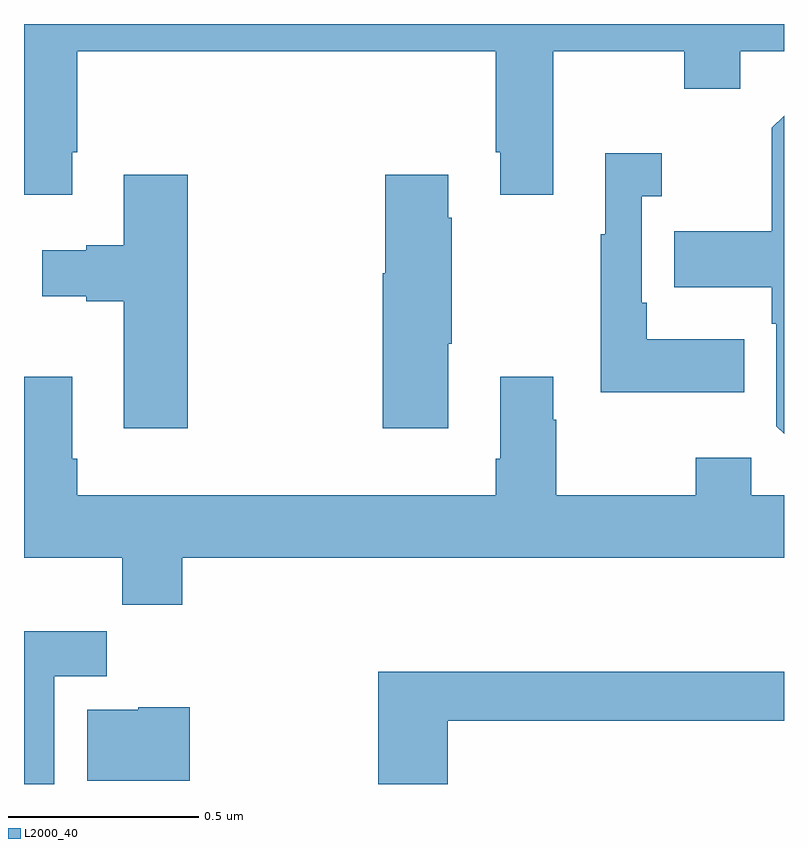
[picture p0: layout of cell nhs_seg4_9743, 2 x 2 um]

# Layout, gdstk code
import gdstk
lib = gdstk.Library(unit=1e-6, precision=1e-09)
def P(c, l, *ps):  # polygons
    for p in ps: c.add(gdstk.Polygon(p, *l))
L2000_40 = (2000, 40)

nhs_seg4_9743 = lib.new_cell('nhs_seg4_9743')
P(nhs_seg4_9743, L2000_40, [(231.127,788.563),(231.14,788.563),(231.14,788.828),(232.241,788.828),(232.241,788.563),(232.253,788.563),(232.253,788.451),(232.393,788.451),(232.393,788.828),(232.738,788.828),(232.738,788.729),(232.885,788.729),(232.885,788.828),(233,788.828),(233,788.9),(231,788.9),(231,788.451),(231.127,788.451)],
  [(233,788.659),(232.968,788.627),(232.968,788.355),(232.711,788.355),(232.711,788.207),(232.968,788.207),(232.968,788.111),(232.98,788.111),(232.98,787.842),(233,787.822)],
  [(232.895,788.071),(232.639,788.071),(232.639,788.167),(232.626,788.167),(232.626,788.447),(232.678,788.447),(232.678,788.56),(232.529,788.56),(232.529,788.347),(232.518,788.347),(232.518,787.931),(232.895,787.931)],
  [(232.117,788.059),(232.125,788.059),(232.125,788.39),(232.117,788.39),(232.117,788.503),(231.95,788.503),(231.95,788.244),(231.944,788.244),(231.944,787.836),(232.117,787.836)],
  [(231.431,788.503),(231.263,788.503),(231.263,788.318),(231.164,788.318),(231.164,788.305),(231.048,788.305),(231.048,788.183),(231.164,788.183),(231.164,788.171),(231.263,788.171),(231.263,787.836),(231.431,787.836)],
  [(231.416,787.496),(233,787.496),(233,787.66),(232.914,787.66),(232.914,787.759),(232.768,787.759),(232.768,787.66),(232.401,787.66),(232.401,787.859),(232.393,787.859),(232.393,787.972),(232.253,787.972),(232.253,787.756),(232.241,787.756),(232.241,787.66),(231.14,787.66),(231.14,787.756),(231.127,787.756),(231.127,787.972),(231,787.972),(231,787.496),(231.259,787.496),(231.259,787.372),(231.416,787.372)],
  [(231.079,787.184),(231.218,787.184),(231.218,787.302),(231,787.302),(231,786.9),(231.079,786.9)],
  [(232.115,787.066),(233,787.066),(233,787.195),(231.932,787.195),(231.932,786.9),(232.115,786.9)],
  [(231.436,787.102),(231.3,787.102),(231.3,787.096),(231.167,787.096),(231.167,786.908),(231.436,786.908)])

lib.write_gds('nhs_seg4_9743.gds')
